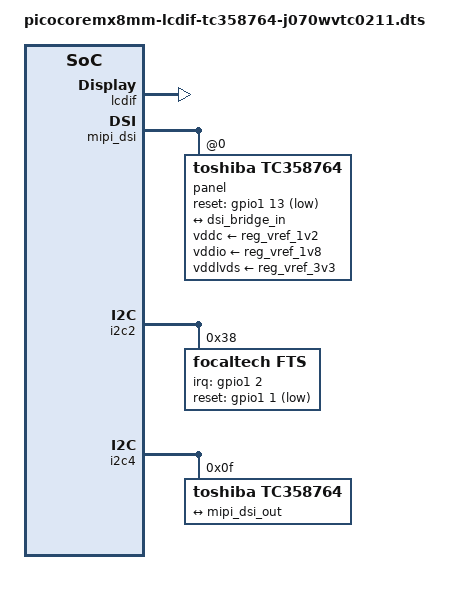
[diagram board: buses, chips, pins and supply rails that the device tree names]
/*
 * Copyright (C) 2019 F&S Elektronik Systeme GmbH
 *
 * This program is free software; you can redistribute it and/or modify
 * it under the terms of the GNU General Public License version 2 as
 * published by the Free Software Foundation.
 */

#include "picocoremx8mm-bbdsi.dts"

&lcdif {
	status = "okay";
	/* important to overwrite max-res otherwise DRM lcdif will fail to find a suitable connector */
	max-res = <4096>, <4096>;
};


&mipi_dsi {
	status = "okay";

	clocks = <&clk IMX8MM_CLK_DSI_CORE_DIV>,
			 <&clk IMX8MM_CLK_DSI_PHY_REF_DIV>, <&clk IMX8MM_CLK_CLKO2_DIV>;
	clock-names = "cfg", "pll-ref";
	assigned-clocks = <&clk IMX8MM_CLK_DSI_CORE_SRC>,
				  <&clk IMX8MM_CLK_DSI_PHY_REF_SRC>, <&clk IMX8MM_CLK_CLKO2_SRC>;
	assigned-clock-parents = <&clk IMX8MM_SYS_PLL1_266M>,
					 <&clk IMX8MM_VIDEO_PLL1_OUT>, <&clk IMX8MM_SYS_PLL2_200M>;
	assigned-clock-rates = <266000000>, <27000000>, <200000000>;

	panel@0{
		status = "okay";
		compatible = "toshiba,tc358764";
		reg = <0>;
		pinctrl-names = "default";
		pinctrl-0 = <&pinctrl_mipi_dsi_en>;

		clocks = <&clk IMX8MM_CLK_CLKO2_DIV>;
		reset-gpios = <&gpio1 13 GPIO_ACTIVE_LOW>;
		clock-names = "ext-clk";
		ext-clk-rate = <33500000>;


		vddc-supply = <&reg_vref_1v2>;
		vddio-supply = <&reg_vref_1v8>;
		vddlvds-supply = <&reg_vref_3v3>;

		dsi,format = <0x0>; /* MIPI_DSI_FMT_RGB888 */
		dsi,lanes = <4>;
		dsi,flags = <0xB>; /* MIPI_DSI_MODE_VIDEO MIPI_DSI_MODE_VIDEO_BURST MIPI_DSI_MODE_VIDEO_AUTO_VERT */
		refresh-rate = <60>;
        rotate = <0>;

		panel-width-mm = <154>;
		panel-height-mm = <85>;

		display-timings {
			native-mode = <&timing0>;

			timing0: jd_j070wvtc0211 {
				clock-frequency = <33500000>;
				hactive = <800>;
				vactive = <480>;
				hback-porch = <10>;
				hfront-porch = <37>;
				hsync-len = <128>;
				vback-porch = <23>;
				vfront-porch = <11>;
				vsync-len = <1>;
				pixelclk-active = <0>;
			};
		};

		port@1 {
			mipi_dsi_out: endpoint {
				remote-endpoint = <&dsi_bridge_in>;
			};
		};
	};
};

&i2c2 {
	/* touch I2C */
	focaltech@38 {
		compatible = "focaltech,fts";
		reg = <0x38>;
		interrupt-parent = <&gpio1>;
		interrupts = <2 IRQ_TYPE_EDGE_FALLING>;
		focaltech,irq-gpio = <&gpio1 2 IRQ_TYPE_EDGE_FALLING>;
		focaltech,reset-gpio = <&gpio1 1 GPIO_ACTIVE_LOW>;
		focaltech,num-max-touches = <10>;
		focaltech,display-coords = <0 0 800 480>;
	};
};

&i2c4 {

	/* tc358764 - DSI2LVDS bridge */
	tc358764@f {
		status = "okay";
		compatible = "toshiba,tc358764";
		reg = <0xf>;

		clocks = <&clk IMX8MM_CLK_CLKO2_DIV>;
		clock-names = "ref";

		reg,address = < /* dsi basic parameters in lp mode */
				0x013c 0x0114 0x0164 0x0168
				0x016C 0x0170 0x0134 0x0210 0x0104
				0x0204 0x0450 0x0454 0x0458 0x045C
				0x0460 0x0464 0x04A0 0x04A0 0x0504
				/* color mapping settings	*/
				0x0480 0x0484 0x0488 0x048C 0x0490
				0x0494 0x0498
				 /* LVDS enable */
	            0x049C
					>;
		reg,value = <
				0x10002 0x1 0x2 0x2 
				0x2	0x2 0x1F 0x1F 
				0x1 0x1 0x3F00120 0x2E0001
				0xD20320 0x170002 0x1601E0 0x1
				0x44802D 0x4802D 0x4 0x3020100
				0x8050704 0xF0E0A09 0x100D0C0B 0x12111716
				0x1B151413 0x61A1918
				0x00000031>;

		ports {
			#address-cells = <1>;
			#size-cells = <0>;

			port@2 {
				reg = <2>;

				dsi_bridge_in: endpoint {
					remote-endpoint = <&mipi_dsi_out>;
				};
			};
		};
	};
};


